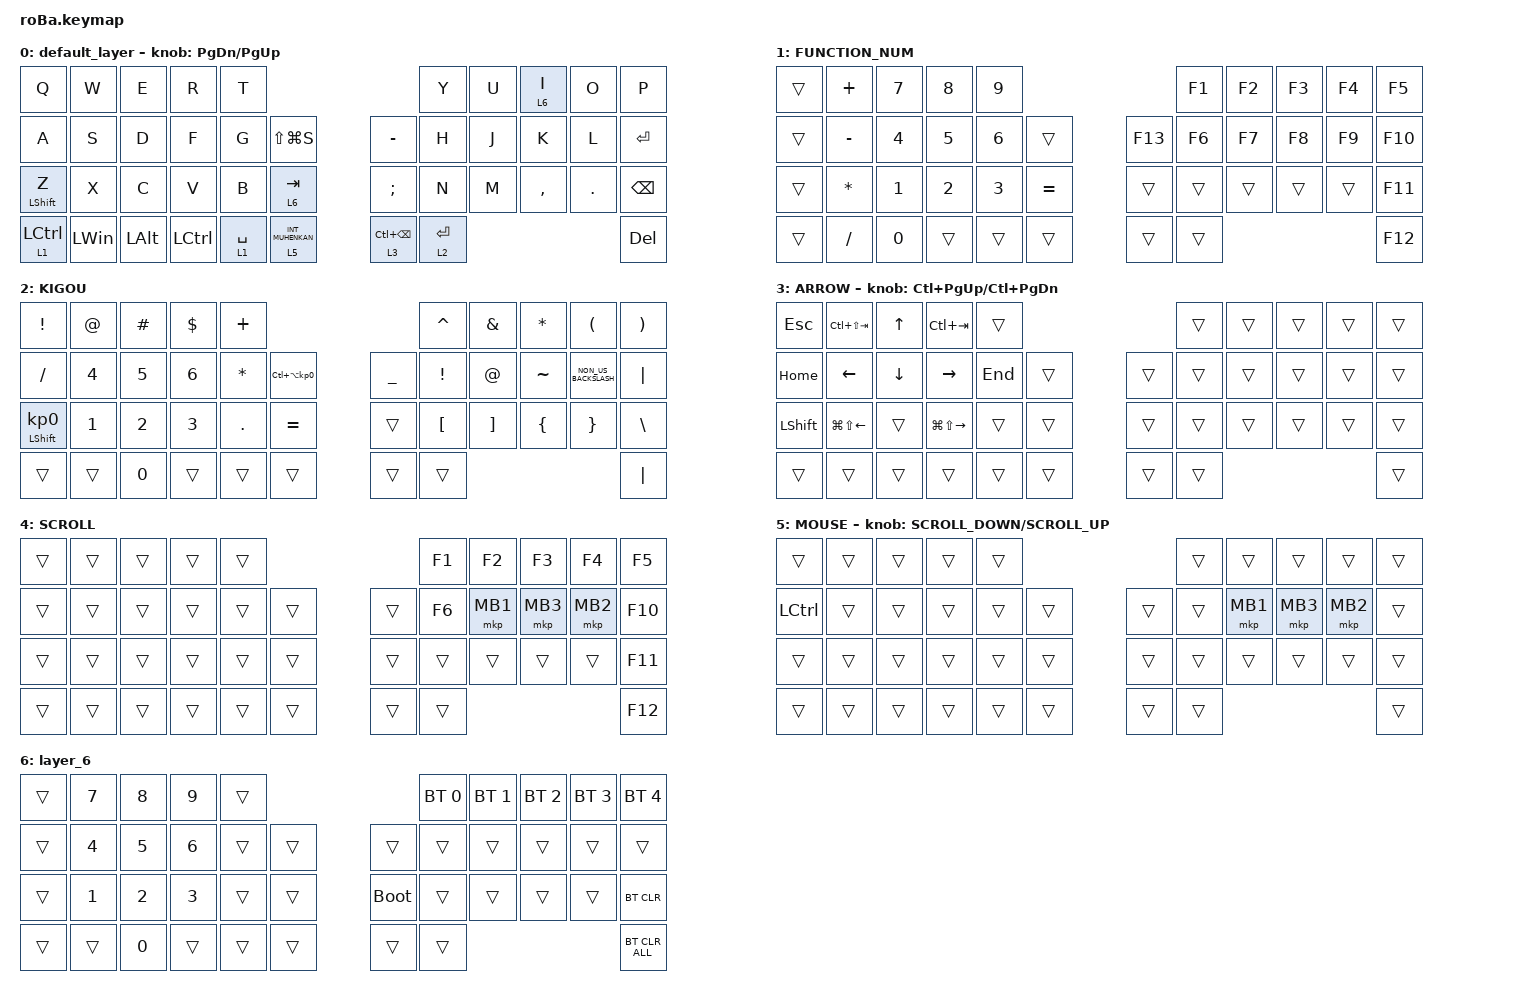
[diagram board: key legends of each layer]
#include <behaviors.dtsi>
#include <dt-bindings/zmk/bt.h>
#include <dt-bindings/zmk/keys.h>
#include <dt-bindings/zmk/pointing.h>

&mt {
    flavor = "balanced";
    quick-tap-ms = <0>;
};

&trackball {
    automouse-layer = <4>;
    scroll-layers = <5>;

    // arrows {
    //     layers = <3>;
    //     bindings =
    //         <&kp RIGHT_ARROW>,
    //         <&kp LEFT_ARROW>,
    //         <&kp UP_ARROW>,
    //         <&kp DOWN_ARROW>;
    //     tick = <10>;
    //     wait-ms = <5>;
    //     tap-ms = <5>;
    // };
};

/ {
    combos {
        compatible = "zmk,combos";

        tab {
            bindings = <&kp TAB>;
            key-positions = <11 12>;
        };

        shift_tab {
            bindings = <&kp LS(TAB)>;
            key-positions = <12 13>;
        };

        muhennkann {
            bindings = <&to_layer_0 INT_MUHENKAN>;
            key-positions = <10 11>;
        };

        eq {
            bindings = <&kp EQUAL>;
            key-positions = <24 25>;
        };

        hennkann {
            bindings = <&kp INT_HENKAN>;
            key-positions = <21 20>;
        };
    };

    macros {
        to_layer_0: to_layer_0 {
            compatible = "zmk,behavior-macro-one-param";
            #binding-cells = <1>;
            bindings = <&to 0 &macro_param_1to1 &kp MACRO_PLACEHOLDER>;
            label = "TO_LAYER_0";
        };
    };

    behaviors {
        lt_to_layer_0: lt_to_layer_0 {
            compatible = "zmk,behavior-hold-tap";
            label = "LAYER_TAP_TO_0";
            bindings = <&mo>, <&to_layer_0>;

            #binding-cells = <2>;
            tapping-term-ms = <200>;
        };
    };

    keymap {
        compatible = "zmk,keymap";

        default_layer {
            bindings = <
&kp Q                          &kp W         &kp E         &kp R             &kp T                                                                           &kp Y        &kp U  &lt 6 I    &kp O    &kp P
&kp A                          &kp S         &kp D         &kp F             &kp G        &kp LS(LG(S))                      &kp MINUS                       &kp H        &kp J  &kp K      &kp L    &kp ENTER
&mt LEFT_SHIFT Z               &kp X         &kp C         &kp V             &kp B        &lt_to_layer_0 6 TAB               &kp SEMICOLON                   &kp N        &kp M  &kp COMMA  &kp DOT  &kp BACKSPACE
&lt_to_layer_0 1 LEFT_CONTROL  &kp LEFT_WIN  &kp LEFT_ALT  &kp LEFT_CONTROL  &lt 1 SPACE  &lt_to_layer_0 5 INT_MUHENKAN      &lt_to_layer_0 3 LC(BACKSPACE)  &lt 2 ENTER                             &kp DEL
            >;

            sensor-bindings = <&inc_dec_kp PAGE_DOWN PAGE_UP>;
        };

        FUNCTION_NUM {
            bindings = <
&trans  &kp PLUS      &kp N7  &kp N8        &kp N9                          &kp F1  &kp F2  &kp F3  &kp F4  &kp F5
&trans  &kp MINUS     &kp N4  &kp N5        &kp N6  &trans         &kp F13  &kp F6  &kp F7  &kp F8  &kp F9  &kp F10
&trans  &kp ASTERISK  &kp N1  &kp NUMBER_2  &kp N3  &kp EQUAL      &trans   &trans  &trans  &trans  &trans  &kp F11
&trans  &kp SLASH     &kp N0  &trans        &trans  &trans         &trans   &trans                          &kp F12
            >;
        };

        KIGOU {
            bindings = <
&kp EXCLAMATION             &kp AT_SIGN  &kp HASH      &kp DOLLAR  &kp PLUS                                                   &kp CARET         &kp AMPERSAND      &kp ASTERISK    &kp LEFT_PARENTHESIS  &kp RIGHT_PARENTHESIS
&kp SLASH                   &kp N4       &kp NUMBER_5  &kp N6      &kp ASTERISK  &kp LC(LA(KP_NUMBER_0))      &kp UNDERSCORE  &kp EXCLAMATION   &kp AT_SIGN        &kp TILDE       &kp NON_US_BACKSLASH  &kp PIPE
&mt LEFT_SHIFT KP_NUMBER_0  &kp N1       &kp N2        &kp N3      &kp PERIOD    &kp EQUAL                    &trans          &kp LEFT_BRACKET  &kp RIGHT_BRACKET  &kp LEFT_BRACE  &kp RIGHT_BRACE       &kp BACKSLASH
&trans                      &trans       &kp N0        &trans      &trans        &trans                       &trans          &trans                                                                     &kp PIPE
            >;
        };

        ARROW {
            bindings = <
&kp ESCAPE      &kp LC(LS(TAB))         &kp UP_ARROW    &kp LC(TAB)              &trans                       &trans  &trans  &trans  &trans  &trans
&kp HOME        &kp LEFT_ARROW          &kp DOWN_ARROW  &kp RIGHT_ARROW          &kp END  &trans      &trans  &trans  &trans  &trans  &trans  &trans
&kp LEFT_SHIFT  &kp LG(LS(LEFT_ARROW))  &trans          &kp LG(LS(RIGHT_ARROW))  &trans   &trans      &trans  &trans  &trans  &trans  &trans  &trans
&trans          &trans                  &trans          &trans                   &trans   &trans      &trans  &trans                          &trans
            >;

            sensor-bindings = <&inc_dec_kp LC(PAGE_UP) LC(PAGE_DOWN)>;
        };

        SCROLL {
            bindings = <
&trans  &trans  &trans  &trans  &trans                      &kp F1  &kp F2    &kp F3    &kp F4    &kp F5
&trans  &trans  &trans  &trans  &trans  &trans      &trans  &kp F6  &mkp MB1  &mkp MB3  &mkp MB2  &kp F10
&trans  &trans  &trans  &trans  &trans  &trans      &trans  &trans  &trans    &trans    &trans    &kp F11
&trans  &trans  &trans  &trans  &trans  &trans      &trans  &trans                                &kp F12
            >;
        };

        MOUSE {
            bindings = <
&trans            &trans  &trans  &trans  &trans                      &trans  &trans    &trans    &trans    &trans
&kp LEFT_CONTROL  &trans  &trans  &trans  &trans  &trans      &trans  &trans  &mkp MB1  &mkp MB3  &mkp MB2  &trans
&trans            &trans  &trans  &trans  &trans  &trans      &trans  &trans  &trans    &trans    &trans    &trans
&trans            &trans  &trans  &trans  &trans  &trans      &trans  &trans                                &trans
            >;

            sensor-bindings = <&inc_dec_kp K_SCROLL_DOWN K_SCROLL_UP>;
        };

        layer_6 {
            bindings = <
&trans  &kp N7        &kp N8        &kp N9        &trans                           &bt BT_SEL 0  &bt BT_SEL 1  &bt BT_SEL 2  &bt BT_SEL 3  &bt BT_SEL 4
&trans  &kp N4        &kp N5        &kp N6        &trans  &trans      &trans       &trans        &trans        &trans        &trans        &trans
&trans  &kp NUMBER_1  &kp NUMBER_2  &kp NUMBER_3  &trans  &trans      &bootloader  &trans        &trans        &trans        &trans        &bt BT_CLR
&trans  &trans        &kp N0        &trans        &trans  &trans      &trans       &trans                                                  &bt BT_CLR_ALL
            >;
        };
    };

    conditional_layers { compatible = "zmk,conditional-layers"; };
};
